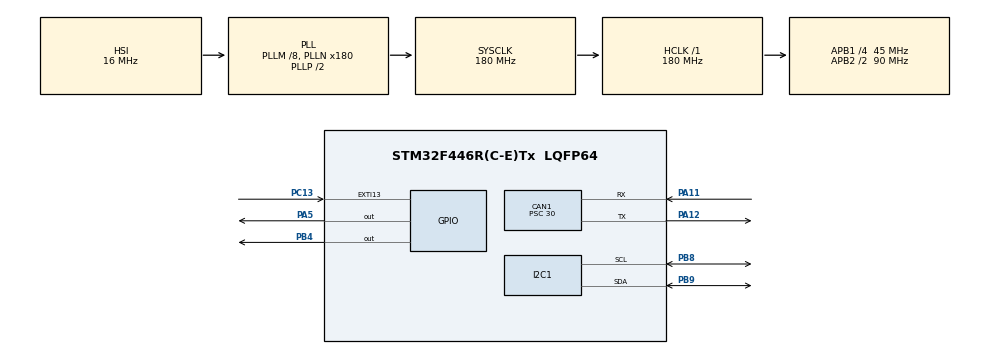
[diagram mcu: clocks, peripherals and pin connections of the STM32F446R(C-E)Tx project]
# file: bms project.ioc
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CAN1.CalculateBaudRate=500000
CAN1.CalculateTimeBit=2000
CAN1.CalculateTimeQuantum=666.6666666666666
CAN1.Prescaler=30
FREERTOS.Tasks01=defaultTask,24,128,StartDefaultTask,Default,NULL,Dynamic,NULL,NULL
FREERTOS.configTOTAL_HEAP_SIZE=8192
FREERTOS.configUSE_NEWLIB_REENTRANT=1
Mcu.Family=STM32F4
Mcu.Name=STM32F446R(C-E)Tx
Mcu.Package=LQFP64
NUCLEO-F446RE.BUTTON=1
NUCLEO-F446RE.LD1=true
NVIC.EXTI15_10_IRQn=true\:5\:0\:false\:false\:true\:true\:false\:true\:true
NVIC.PriorityGroup=NVIC_PRIORITYGROUP_4
NVIC.TIM6_DAC_IRQn=true\:15\:0\:false\:false\:true\:false\:false\:true\:true
NVIC.TimeBase=TIM6_DAC_IRQn
NVIC.TimeBaseIP=TIM6
PA11.Mode=CAN_Activate
PA11.Signal=CAN1_RX
PA12.Mode=CAN_Activate
PA12.Signal=CAN1_TX
PA13.GPIO_Label=TMS
PA13.Signal=SYS_JTMS-SWDIO
PA14.GPIO_Label=TCK
PA14.Signal=SYS_JTCK-SWCLK
PA2.GPIO_Label=USART_TX
PA2.Signal=USART2_TX
PA3.GPIO_Label=USART_RX
PA3.Signal=USART2_RX
PA5.Signal=GPIO_Output
PB3.GPIO_Label=SWO
PB3.Signal=SYS_JTDO-SWO
PB4.Signal=GPIO_Output
PB8.Mode=I2C
PB8.Signal=I2C1_SCL
PB9.Mode=I2C
PB9.Signal=I2C1_SDA
PC13.Signal=GPXTI13
PC14-OSC32_IN.Signal=RCC_OSC32_IN
PC15-OSC32_OUT.Signal=RCC_OSC32_OUT
PH0-OSC_IN.Signal=RCC_OSC_IN
PH1-OSC_OUT.Signal=RCC_OSC_OUT
ProjectManager.HeapSize=0x200
ProjectManager.StackSize=0x400
ProjectManager.TargetToolchain=STM32CubeIDE
RCC.AHBFreq_Value=180000000
RCC.APB1CLKDivider=RCC_HCLK_DIV4
RCC.APB1Freq_Value=45000000
RCC.APB1TimFreq_Value=90000000
RCC.APB2CLKDivider=RCC_HCLK_DIV2
RCC.APB2Freq_Value=90000000
RCC.APB2TimFreq_Value=180000000
RCC.CortexFreq_Value=180000000
RCC.FLatency-AdvancedSettings=FLASH_LATENCY_5
RCC.HCLKFreq_Value=180000000
RCC.HSE_VALUE=8000000
RCC.HSI_VALUE=16000000
RCC.LSE_VALUE=32768
RCC.PLLM=8
RCC.PLLN=180
RCC.PLLP=2
RCC.SYSCLKFreq_VALUE=180000000
RCC.SYSCLKSource=RCC_SYSCLKSOURCE_PLLCLK
RCC.USBFreq_Value=180000000
RCC.VCOOutputFreq_Value=360000000
STMicroelectronics.X-CUBE-AI.10.2.1.ActivationBufferSizeList=2000
STMicroelectronics.X-CUBE-AI.10.2.1.ActivationBuffers=pool0
STMicroelectronics.X-CUBE-AI.10.2.1.ActivationNames=pool0
STMicroelectronics.X-CUBE-AI.10.2.1.ActivationSizes=AI_NETWORK_DATA_ACTIVATION_1_SIZE
STMicroelectronics.X-CUBE-AI.10.2.1.HeapSize=0x800
STMicroelectronics.X-CUBE-AI.10.2.1.InternalRamActivationBufferMaxSize=AI_NETWORK_DATA_ACTIVATIONS_SIZE
STMicroelectronics.X-CUBE-AI.10.2.1.LatestDirectoryUsed-007bdd87d281aa1ff6962a9f3ec22aef790b015df3d463b13519d615163b8069=/Users/rishibobra/bms_battery_data
STMicroelectronics.X-CUBE-AI.10.2.1.MaximumNumberOfInputLayer=1
STMicroelectronics.X-CUBE-AI.10.2.1.MaximumNumberOfOutputLayer=1
STMicroelectronics.X-CUBE-AI.10.2.1.MaximumSizeOfInputLayer=1
STMicroelectronics.X-CUBE-AI.10.2.1.MaximumSizeOfOutputLayer=1
STMicroelectronics.X-CUBE-AI.10.2.1.ModelActualCompression-007bdd87d281aa1ff6962a9f3ec22aef790b015df3d463b13519d615163b8069=0.0
STMicroelectronics.X-CUBE-AI.10.2.1.ModelCompression-007bdd87d281aa1ff6962a9f3ec22aef790b015df3d463b13519d615163b8069=None
STMicroelectronics.X-CUBE-AI.10.2.1.ModelFlashOccupation-007bdd87d281aa1ff6962a9f3ec22aef790b015df3d463b13519d615163b8069=15914
STMicroelectronics.X-CUBE-AI.10.2.1.ModelHashList=007bdd87d281aa1ff6962a9f3ec22aef790b015df3d463b13519d615163b8069
STMicroelectronics.X-CUBE-AI.10.2.1.ModelKind-007bdd87d281aa1ff6962a9f3ec22aef790b015df3d463b13519d615163b8069=TFLITE
STMicroelectronics.X-CUBE-AI.10.2.1.ModelMacc-007bdd87d281aa1ff6962a9f3ec22aef790b015df3d463b13519d615163b8069=154
STMicroelectronics.X-CUBE-AI.10.2.1.ModelName-007bdd87d281aa1ff6962a9f3ec22aef790b015df3d463b13519d615163b8069=network
STMicroelectronics.X-CUBE-AI.10.2.1.ModelNameList=network
STMicroelectronics.X-CUBE-AI.10.2.1.ModelRamOccupation-007bdd87d281aa1ff6962a9f3ec22aef790b015df3d463b13519d615163b8069=2000
STMicroelectronics.X-CUBE-AI.10.2.1.ModelStructureFile-007bdd87d281aa1ff6962a9f3ec22aef790b015df3d463b13519d615163b8069=/Users/rishibobra/bms_battery_data/battery_health_int8.tflite
STMicroelectronics.X-CUBE-AI.10.2.1.ModelType-007bdd87d281aa1ff6962a9f3ec22aef790b015df3d463b13519d615163b8069=STM32Cube.AI MCU runtime
STMicroelectronics.X-CUBE-AI.10.2.1.ReadyForCodeGeneration=true
STMicroelectronics.X-CUBE-AI.10.2.1.StackSize=0x800
STMicroelectronics.X-CUBE-AI.10.2.1.WorkingBufferStartAddrList=0xFFFFFFFF
STMicroelectronics.X-CUBE-AI.10.2.1.XAaCUBEAaAICcArtificialOoIntelligenceJjCore=true
STMicroelectronics.X-CUBE-AI.10.2.1.copyWeightToRam=false
STMicroelectronics.X-CUBE-AI.10.2.1.customLayerConfigEnabled=false
STMicroelectronics.X-CUBE-AI.10.2.1.noOnnxIoTranspose=false
STMicroelectronics.X-CUBE-AI.10.2.1.useInputAllocation=true
STMicroelectronics.X-CUBE-AI.10.2.1.useOutputAllocation=true
VP_FREERTOS_VS_CMSIS_V2.Mode=CMSIS_V2
VP_NUCLEO-F446RE_VS_BSP_COMMON.Mode=COMMON
VP_STMicroelectronics.X-CUBE-AI_VS_ArtificialOoIntelligenceJjXAaCUBEAaAI_10.2.1.Mode=ArtificialOoIntelligenceJjXAaCUBEAaAI
VP_SYS_VS_tim6.Mode=TIM6
board=NUCLEO-F446RE

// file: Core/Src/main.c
/* USER CODE BEGIN Header */
/**
  ******************************************************************************
  * @file           : main.c
  * @brief          : Main program body (RTOS + CAN)
  ******************************************************************************
  */
/* USER CODE END Header */
#include "main.h"
#include "cmsis_os.h"

/* USER CODE BEGIN Includes */
#include "network.h"
#include "network_data.h"
#include <math.h>
#include <string.h>
/* USER CODE END Includes */

CAN_HandleTypeDef hcan1;

I2C_HandleTypeDef hi2c1;

/* Definitions for defaultTask */
osThreadId_t defaultTaskHandle;
const osThreadAttr_t defaultTask_attributes = {
  .name = "defaultTask",
  .stack_size = 128 * 4,
  .priority = (osPriority_t) osPriorityNormal,
};
/* USER CODE BEGIN PV */

/* --- Shared telemetry struct + RTOS primitives --- */

typedef struct {
  float voltage_cellA, voltage_cellB, voltage_cellC, busVoltage_V;
  float current_A, temperature_C, soc_estimate;
  uint8_t ov_fault, uv_fault, ocd_fault, ot_fault, any_fault;
  uint8_t ml_fault_predicted;
} Telemetry;

static Telemetry telemetry = {0};

static osMutexId_t i2c_mutex;
static osMutexId_t telemetry_mutex;
static osSemaphoreId_t ml_window_ready_sem;

static osThreadId_t sensor_task_handle;
static osThreadId_t ml_task_handle;
static osThreadId_t can_task_handle;

/* --- All I2C-level device functions: unchanged --- */

int16_t ADS1115_ReadDifferential(uint8_t address, uint8_t channelPair)
{
  uint8_t config[3];
  uint8_t data[2];

  uint16_t muxBits = (channelPair == 0) ? 0x0000 : 0x3000;

  uint16_t configValue = 0x8000 | muxBits | 0x0200 | 0x0100 | 0x0080 | 0x0003;

  config[0] = 0x01;
  config[1] = configValue >> 8;
  config[2] = configValue & 0xFF;

  HAL_I2C_Master_Transmit(&hi2c1, address << 1, config, 3, 100);

  uint8_t configReg = 0x01;
  uint8_t configReadBuf[2];
  HAL_I2C_Master_Transmit(&hi2c1, address << 1, &configReg, 1, 100);
  HAL_I2C_Master_Receive(&hi2c1, address << 1, configReadBuf, 2, 100);

  osDelay(10);

  uint8_t reg = 0x00;
  HAL_I2C_Master_Transmit(&hi2c1, address << 1, &reg, 1, 100);
  HAL_I2C_Master_Receive(&hi2c1, address << 1, data, 2, 100);

  return (int16_t)((data[0] << 8) | data[1]);
}

int16_t ADS1115_ReadSingleEnded(uint8_t address, uint8_t channel)
{
  uint8_t config[3];
  uint8_t data[2];

  uint16_t muxBits;
  switch (channel)
  {
    case 0: muxBits = 0x4000; break;
    case 1: muxBits = 0x5000; break;
    case 2: muxBits = 0x6000; break;
    case 3: muxBits = 0x7000; break;
    default: muxBits = 0x4000; break;
  }

  uint16_t configValue = 0x8000 | muxBits | 0x0200 | 0x0100 | 0x0080 | 0x0003;

  config[0] = 0x01;
  config[1] = configValue >> 8;
  config[2] = configValue & 0xFF;

  HAL_I2C_Master_Transmit(&hi2c1, address << 1, config, 3, 100);
  osDelay(10);

  uint8_t reg = 0x00;
  HAL_I2C_Master_Transmit(&hi2c1, address << 1, &reg, 1, 100);
  HAL_I2C_Master_Receive(&hi2c1, address << 1, data, 2, 100);

  return (int16_t)((data[0] << 8) | data[1]);
}

void INA219_Init(void)
{
  uint8_t config[3];
  uint16_t configValue = 0x399F;
  config[0] = 0x00;
  config[1] = configValue >> 8;
  config[2] = configValue & 0xFF;
  HAL_I2C_Master_Transmit(&hi2c1, 0x40 << 1, config, 3, 100);
}

int16_t INA219_ReadShuntVoltage(void)
{
  uint8_t reg = 0x01;
  uint8_t data[2];
  HAL_I2C_Master_Transmit(&hi2c1, 0x40 << 1, &reg, 1, 100);
  HAL_I2C_Master_Receive(&hi2c1, 0x40 << 1, data, 2, 100);
  return (int16_t)((data[0] << 8) | data[1]);
}

int16_t INA219_ReadBusVoltage(void)
{
  uint8_t reg = 0x02;
  uint8_t data[2];
  HAL_I2C_Master_Transmit(&hi2c1, 0x40 << 1, &reg, 1, 100);
  HAL_I2C_Master_Receive(&hi2c1, 0x40 << 1, data, 2, 100);
  uint16_t raw = ((data[0] << 8) | data[1]);
  return (int16_t)(raw >> 3);
}

#define NTC_R_FIXED    10000.0f
#define NTC_R0         10000.0f
#define NTC_T0_KELVIN  298.15f
#define NTC_BETA       3950.0f
#define NTC_SUPPLY_V   3.3f
#define OT_THRESHOLD   60.0f

float NTC_ReadTemperatureC(void)
{
  int16_t raw = ADS1115_ReadSingleEnded(0x49, 1); // confirmed working channel

  float v_midpoint = raw * 4.096f / 32768.0f;

  if (v_midpoint <= 0.01f || v_midpoint >= (NTC_SUPPLY_V - 0.01f))
  {
    return -999.0f;
  }

  float r_ntc = NTC_R_FIXED * v_midpoint / (NTC_SUPPLY_V - v_midpoint);
  float inv_T = (1.0f / NTC_T0_KELVIN) + (1.0f / NTC_BETA) * logf(r_ntc / NTC_R0);
  float T_kelvin = 1.0f / inv_T;
  return T_kelvin - 273.15f;
}

/* --- Protection logic: unchanged --- */

typedef struct {
  uint8_t ov_fault, uv_fault, ocd_fault, ot_fault, any_fault;
} FaultStatus;

static FaultStatus faults = {0, 0, 0, 0, 0};

#define OV_THRESHOLD  4.25f
#define UV_THRESHOLD  3.00f
#define OCD_THRESHOLD 1.00f
#define FAULT_TRIP_COUNT    3
#define FAULT_CLEAR_COUNT   10

static uint8_t fault_debounce_counter = 0;
static uint8_t clear_debounce_counter = 0;

void CheckProtection(float vA, float vB, float vC, float current, float temperature)
{
  uint8_t ov_now  = (vA > OV_THRESHOLD) || (vB > OV_THRESHOLD) || (vC > OV_THRESHOLD);
  uint8_t uv_now  = (vA < UV_THRESHOLD) || (vB < UV_THRESHOLD) || (vC < UV_THRESHOLD);
  uint8_t ocd_now = (current > OCD_THRESHOLD);
  uint8_t ot_now  = (temperature > -900.0f) && (temperature > OT_THRESHOLD);
  uint8_t any_now = ov_now || uv_now || ocd_now || ot_now;

  if (any_now)
  {
    if (fault_debounce_counter < 255) fault_debounce_counter++;
    clear_debounce_counter = 0;

    if (fault_debounce_counter >= FAULT_TRIP_COUNT)
    {
      faults.ov_fault  = ov_now;
      faults.uv_fault  = uv_now;
      faults.ocd_fault = ocd_now;
      faults.ot_fault  = ot_now;
      faults.any_fault = 1;
    }
  }
  else
  {
    if (clear_debounce_counter < 255) clear_debounce_counter++;
    fault_debounce_counter = 0;

    if (faults.any_fault && clear_debounce_counter >= FAULT_CLEAR_COUNT)
    {
      faults.ov_fault = 0;
      faults.uv_fault = 0;
      faults.ocd_fault = 0;
      faults.ot_fault = 0;
      faults.any_fault = 0;
    }
  }
}

/* --- ML window + inference: unchanged --- */

#define ML_WINDOW_DURATION_MS (60UL * 60UL * 1000UL)

typedef struct {
  uint8_t initialized;
  uint32_t window_start_ms;
  float v_start, v_end, v_min, v_max, v_sum;
  float t_start, t_end, t_min, t_max, t_sum;
  float i_sum;
  uint32_t sample_count;
} MLWindow;

static MLWindow ml_window = {0};
static uint8_t ml_fault_predicted = 0;

AI_ALIGNED(4) static ai_u8 ml_activations[AI_NETWORK_DATA_ACTIVATIONS_SIZE];
static ai_handle ml_network = AI_HANDLE_NULL;
static ai_buffer *ml_ai_input;
static ai_buffer *ml_ai_output;
AI_ALIGNED(4) static ai_i8 ml_in_data[AI_NETWORK_IN_1_SIZE_BYTES];
AI_ALIGNED(4) static ai_i8 ml_out_data[AI_NETWORK_OUT_1_SIZE_BYTES];

#define ML_INPUT_SCALE       0.03585321083664894f
#define ML_INPUT_ZERO_POINT  (-22)
#define ML_OUTPUT_SCALE      0.00390625f
#define ML_OUTPUT_ZERO_POINT (-128)

static const float ml_feature_mean[13] = {
  4.192808955132895f, 3.272409089583816f, 0.9203998655490792f,
  3.4993529584264813f, 2.381492897664002f, -0.0002247136744084125f,
  0.49307353410537685f, 32.650578043119715f, 40.05161188619845f,
  24.118333404703275f, 12.608154840005213f, -1.833948924395799f,
  3129.523886904762f
};
static const float ml_feature_scale[13] = {
  0.00931527534691189f, 0.4221091341784416f, 0.42299735424333007f,
  0.05079193023033349f, 0.24488864532021887f, 4.297661349659307e-05f,
  0.19936359353370495f, 0.8018611177388473f, 1.1842801512585357f,
  0.4721036585599512f, 2.1909839096404036f, 0.11241392866188613f,
  245.91931258935674f
};

void ML_WindowUpdate(float voltage, float temperature, float current, uint32_t time_ms)
{
  if (!ml_window.initialized)
  {
    ml_window.window_start_ms = time_ms;
    ml_window.v_start = voltage;
    ml_window.v_min = voltage;
    ml_window.v_max = voltage;
    ml_window.v_sum = 0.0f;
    ml_window.t_start = temperature;
    ml_window.t_min = temperature;
    ml_window.t_max = temperature;
    ml_window.t_sum = 0.0f;
    ml_window.i_sum = 0.0f;
    ml_window.sample_count = 0;
    ml_window.initialized = 1;
  }

  ml_window.v_end = voltage;
  ml_window.v_sum += voltage;
  if (voltage < ml_window.v_min) ml_window.v_min = voltage;
  if (voltage > ml_window.v_max) ml_window.v_max = voltage;

  ml_window.t_end = temperature;
  ml_window.t_sum += temperature;
  if (temperature < ml_window.t_min) ml_window.t_min = temperature;
  if (temperature > ml_window.t_max) ml_window.t_max = temperature;

  ml_window.i_sum += current;
  ml_window.sample_count++;
}

uint8_t ML_WindowReady(uint32_t time_ms)
{
  if (!ml_window.initialized || ml_window.sample_count < 10) return 0;
  return (time_ms - ml_window.window_start_ms) >= ML_WINDOW_DURATION_MS;
}

void ML_ComputeFeatures(float *out_features, uint32_t time_ms)
{
  float n = (float)ml_window.sample_count;
  float v_mean = ml_window.v_sum / n;
  float t_mean = ml_window.t_sum / n;
  float i_mean = ml_window.i_sum / n;

  float duration_s = (time_ms - ml_window.window_start_ms) / 1000.0f;
  if (duration_s < 0.001f) duration_s = 0.001f;

  float v_slope = (ml_window.v_end - ml_window.v_start) / duration_s;

  float i_mean_mag = (i_mean < 0) ? -i_mean : i_mean;
  float resistance_proxy = (i_mean_mag > 1e-6f)
    ? (ml_window.v_start - ml_window.v_end) / i_mean_mag
    : 0.0f;

  float t_rise = ml_window.t_end - ml_window.t_start;

  out_features[0] = ml_window.v_start;
  out_features[1] = ml_window.v_end;
  out_features[2] = ml_window.v_start - ml_window.v_end;
  out_features[3] = v_mean;
  out_features[4] = ml_window.v_min;
  out_features[5] = v_slope;
  out_features[6] = resistance_proxy;
  out_features[7] = t_mean;
  out_features[8] = ml_window.t_max;
  out_features[9] = ml_window.t_min;
  out_features[10] = t_rise;
  out_features[11] = i_mean;
  out_features[12] = duration_s;
}

void ML_WindowReset(void)
{
  ml_window.initialized = 0;
}

int ML_NetworkInit(void)
{
  ai_error err;
  const ai_handle act_addr[] = { ml_activations };
  err = ai_network_create_and_init(&ml_network, act_addr, NULL);
  if (err.type != AI_ERROR_NONE) return -1;
  ml_ai_input = ai_network_inputs_get(ml_network, NULL);
  ml_ai_output = ai_network_outputs_get(ml_network, NULL);
  return 0;
}

uint8_t ML_RunInference(uint32_t time_ms)
{
  float features[13];
  ML_ComputeFeatures(features, time_ms);

  for (int i = 0; i < 13; i++)
  {
    float normalized = (features[i] - ml_feature_mean[i]) / ml_feature_scale[i];
    int32_t quantized = (int32_t)(normalized / ML_INPUT_SCALE + ML_INPUT_ZERO_POINT + 0.5f);
    if (quantized > 127) quantized = 127;
    if (quantized < -128) quantized = -128;
    ml_in_data[i] = (ai_i8)quantized;
  }

  ml_ai_input[0].data = AI_HANDLE_PTR(ml_in_data);
  ml_ai_output[0].data = AI_HANDLE_PTR(ml_out_data);

  ai_i32 batch = ai_network_run(ml_network, ml_ai_input, ml_ai_output);
  if (batch != 1) return 0;

  float output_prob = (ml_out_data[0] - ML_OUTPUT_ZERO_POINT) * ML_OUTPUT_SCALE;
  return (output_prob > 0.5f) ? 1 : 0;
}

/* --- EKF: unchanged --- */

#define ECM_R0   0.1073f
#define ECM_R1   0.0861f
#define ECM_TAU  163.6745f
#define EKF_CAPACITY_AH 1.8565f  // TODO: replace with your pack's rated Ah

#define OCV_TABLE_SIZE 21

static const float ocv_soc_grid[OCV_TABLE_SIZE] = {
  0.00f, 0.05f, 0.10f, 0.15f, 0.20f, 0.25f, 0.30f, 0.35f, 0.40f, 0.45f,
  0.50f, 0.55f, 0.60f, 0.65f, 0.70f, 0.75f, 0.80f, 0.85f, 0.90f, 0.95f, 1.00f
};

static const float ocv_voltage_table[OCV_TABLE_SIZE] = {
  3.4020f, 3.5955f, 3.7331f, 3.7850f, 3.8160f, 3.8396f, 3.8583f, 3.8755f,
  3.8932f, 3.9131f, 3.9361f, 3.9620f, 3.9895f, 4.0186f, 4.0501f, 4.0839f,
  4.1201f, 4.1598f, 4.2043f, 4.2596f, 4.2596f
};

typedef struct { float soc; float v1; float P[2][2]; } EKF_State;

static EKF_State ekf = {
  .soc = 1.0f, .v1 = 0.0f,
  .P = {{1e-4f, 0.0f}, {0.0f, 1e-4f}}
};

static const float EKF_Q_SOC = 1e-8f;
static const float EKF_Q_V1  = 1e-6f;
static const float EKF_R_NOISE = 1e-4f;

static float EKF_OCV(float soc)
{
  if (soc <= ocv_soc_grid[0]) return ocv_voltage_table[0];
  if (soc >= ocv_soc_grid[OCV_TABLE_SIZE - 1]) return ocv_voltage_table[OCV_TABLE_SIZE - 1];
  for (int i = 0; i < OCV_TABLE_SIZE - 1; i++)
  {
    if (soc >= ocv_soc_grid[i] && soc <= ocv_soc_grid[i + 1])
    {
      float frac = (soc - ocv_soc_grid[i]) / (ocv_soc_grid[i + 1] - ocv_soc_grid[i]);
      return ocv_voltage_table[i] + frac * (ocv_voltage_table[i + 1] - ocv_voltage_table[i]);
    }
  }
  return ocv_voltage_table[OCV_TABLE_SIZE - 1];
}

static float EKF_dOCV_dSoC(float soc)
{
  const float eps = 0.001f;
  float soc_hi = soc + eps;
  float soc_lo = soc - eps;
  if (soc_hi > 1.0f) soc_hi = 1.0f;
  if (soc_lo < 0.0f) soc_lo = 0.0f;
  return (EKF_OCV(soc_hi) - EKF_OCV(soc_lo)) / (soc_hi - soc_lo);
}

void EKF_Init(float initial_soc)
{
  ekf.soc = initial_soc;
  ekf.v1 = 0.0f;
  ekf.P[0][0] = 1e-4f; ekf.P[0][1] = 0.0f;
  ekf.P[1][0] = 0.0f;  ekf.P[1][1] = 1e-4f;
}

void EKF_Predict(float current, float dt)
{
  float exp_term = expf(-dt / ECM_TAU);
  float soc_new = ekf.soc - (dt / (EKF_CAPACITY_AH * 3600.0f)) * current;
  float v1_new  = ekf.v1 * exp_term + ECM_R1 * (1.0f - exp_term) * current;

  ekf.soc = soc_new;
  ekf.v1 = v1_new;

  float P00 = ekf.P[0][0], P01 = ekf.P[0][1], P10 = ekf.P[1][0], P11 = ekf.P[1][1];
  ekf.P[0][0] = P00 + EKF_Q_SOC;
  ekf.P[0][1] = P01 * exp_term;
  ekf.P[1][0] = P10 * exp_term;
  ekf.P[1][1] = P11 * exp_term * exp_term + EKF_Q_V1;
}

void EKF_Update(float measured_voltage, float current)
{
  float predicted_voltage = EKF_OCV(ekf.soc) - ekf.v1 - current * ECM_R0;
  float residual = measured_voltage - predicted_voltage;

  float H0 = EKF_dOCV_dSoC(ekf.soc);
  float H1 = -1.0f;

  float S = H0 * (H0 * ekf.P[0][0] + H1 * ekf.P[1][0])
          + H1 * (H0 * ekf.P[0][1] + H1 * ekf.P[1][1])
          + EKF_R_NOISE;

  float K0 = (ekf.P[0][0] * H0 + ekf.P[0][1] * H1) / S;
  float K1 = (ekf.P[1][0] * H0 + ekf.P[1][1] * H1) / S;

  ekf.soc += K0 * residual;
  ekf.v1  += K1 * residual;

  if (ekf.soc < 0.0f) ekf.soc = 0.0f;
  if (ekf.soc > 1.0f) ekf.soc = 1.0f;

  float P00 = ekf.P[0][0], P01 = ekf.P[0][1], P10 = ekf.P[1][0], P11 = ekf.P[1][1];
  ekf.P[0][0] = (1.0f - K0 * H0) * P00 - K0 * H1 * P10;
  ekf.P[0][1] = (1.0f - K0 * H0) * P01 - K0 * H1 * P11;
  ekf.P[1][0] = -K1 * H0 * P00 + (1.0f - K1 * H1) * P10;
  ekf.P[1][1] = -K1 * H0 * P01 + (1.0f - K1 * H1) * P11;
}

float EKF_GetSoC(void) { return ekf.soc; }

/* --- CAN: telemetry init + send functions --- */

#define CAN_ID_VOLTAGES  0x100
#define CAN_ID_STATUS    0x101

static CAN_TxHeaderTypeDef can_tx_header;
static uint32_t can_tx_mailbox;

int CAN_TelemetryInit(void)
{
  if (HAL_CAN_Start(&hcan1) != HAL_OK) return -1;
  can_tx_header.IDE = CAN_ID_STD;
  can_tx_header.RTR = CAN_RTR_DATA;
  can_tx_header.DLC = 8;
  can_tx_header.TransmitGlobalTime = DISABLE;
  return 0;
}

int CAN_SendVoltages(float vA, float vB, float vC, float vPack)
{
  uint8_t data[8];
  int16_t vA_mV = (int16_t)(vA * 1000.0f);
  int16_t vB_mV = (int16_t)(vB * 1000.0f);
  int16_t vC_mV = (int16_t)(vC * 1000.0f);
  int16_t vPack_mV = (int16_t)(vPack * 1000.0f);

  data[0] = (vA_mV >> 8) & 0xFF; data[1] = vA_mV & 0xFF;
  data[2] = (vB_mV >> 8) & 0xFF; data[3] = vB_mV & 0xFF;
  data[4] = (vC_mV >> 8) & 0xFF; data[5] = vC_mV & 0xFF;
  data[6] = (vPack_mV >> 8) & 0xFF; data[7] = vPack_mV & 0xFF;

  can_tx_header.StdId = CAN_ID_VOLTAGES;
  if (HAL_CAN_GetTxMailboxesFreeLevel(&hcan1) == 0) return -1;
  return HAL_CAN_AddTxMessage(&hcan1, &can_tx_header, data, &can_tx_mailbox) == HAL_OK ? 0 : -1;
}

int CAN_SendStatus(float current, float temperature, float soc,
                    uint8_t ov, uint8_t uv, uint8_t ocd, uint8_t ot,
                    uint8_t any_fault, uint8_t ml_fault)
{
  uint8_t data[8];
  int16_t current_mA = (int16_t)(current * 1000.0f);
  int16_t temp_x10 = (int16_t)(temperature * 10.0f);
  uint8_t soc_pct = (uint8_t)(soc * 100.0f);

  uint8_t fault_flags = (ov & 0x01) | ((uv & 0x01) << 1) | ((ocd & 0x01) << 2)
                       | ((ot & 0x01) << 3) | ((any_fault & 0x01) << 4);

  data[0] = (current_mA >> 8) & 0xFF; data[1] = current_mA & 0xFF;
  data[2] = (temp_x10 >> 8) & 0xFF;   data[3] = temp_x10 & 0xFF;
  data[4] = soc_pct;
  data[5] = fault_flags;
  data[6] = ml_fault;
  data[7] = 0x00;

  can_tx_header.StdId = CAN_ID_STATUS;
  if (HAL_CAN_GetTxMailboxesFreeLevel(&hcan1) == 0) return -1;
  return HAL_CAN_AddTxMessage(&hcan1, &can_tx_header, data, &can_tx_mailbox) == HAL_OK ? 0 : -1;
}

/* ============================================================
   RTOS TASKS
   ============================================================ */

static void SensorTask(void *argument)
{
  static uint32_t last_ekf_tick = 0;

  for (;;)
  {
    osMutexAcquire(i2c_mutex, osWaitForever);

    int16_t raw_cellB = ADS1115_ReadDifferential(0x48, 0);
    int16_t raw_cellC = ADS1115_ReadDifferential(0x48, 3);
    int16_t raw_cellA = ADS1115_ReadDifferential(0x49, 3);

    float voltage_cellA = (raw_cellA * 4.096f / 32768.0f) * 4.134f;
    float voltage_cellB = (raw_cellB * 4.096f / 32768.0f) * 4.134f;
    float voltage_cellC = (raw_cellC * 4.096f / 32768.0f) * 4.134f;

    int16_t raw_shuntVoltage = INA219_ReadShuntVoltage();
    float shuntVoltage_mV = raw_shuntVoltage * 0.01f;
    float current_A = shuntVoltage_mV / 1000.0f / 0.0015f;

    int16_t busVoltage_raw = INA219_ReadBusVoltage();
    float busVoltage_V = busVoltage_raw * 0.004f;

    float temperature_C = NTC_ReadTemperatureC();

    osMutexRelease(i2c_mutex);

    CheckProtection(voltage_cellA, voltage_cellB, voltage_cellC, current_A, temperature_C);

    HAL_GPIO_WritePin(GPIOB, GPIO_PIN_4, faults.any_fault ? GPIO_PIN_RESET : GPIO_PIN_SET);

    uint32_t now_ms = HAL_GetTick();
    ML_WindowUpdate(voltage_cellB, temperature_C, current_A, now_ms);

    if (ML_WindowReady(now_ms))
    {
      osSemaphoreRelease(ml_window_ready_sem);
    }

    float dt_s = (now_ms - last_ekf_tick) / 1000.0f;
    if (dt_s > 0.001f)
    {
      EKF_Predict(current_A, dt_s);
      EKF_Update(voltage_cellB, current_A);
    }
    last_ekf_tick = now_ms;

    float soc_estimate = EKF_GetSoC();

    osMutexAcquire(telemetry_mutex, osWaitForever);
    telemetry.voltage_cellA = voltage_cellA;
    telemetry.voltage_cellB = voltage_cellB;
    telemetry.voltage_cellC = voltage_cellC;
    telemetry.busVoltage_V = busVoltage_V;
    telemetry.current_A = current_A;
    telemetry.temperature_C = temperature_C;
    telemetry.soc_estimate = soc_estimate;
    telemetry.ov_fault = faults.ov_fault;
    telemetry.uv_fault = faults.uv_fault;
    telemetry.ocd_fault = faults.ocd_fault;
    telemetry.ot_fault = faults.ot_fault;
    telemetry.any_fault = faults.any_fault;
    telemetry.ml_fault_predicted = ml_fault_predicted;
    osMutexRelease(telemetry_mutex);

    osDelay(500);
  }
}

static void MLInferenceTask(void *argument)
{
  for (;;)
  {
    osSemaphoreAcquire(ml_window_ready_sem, osWaitForever);

    uint32_t now_ms = HAL_GetTick();
    ml_fault_predicted = ML_RunInference(now_ms);
    ML_WindowReset();
  }
}

static void CANTask(void *argument)
{
  for (;;)
  {
    Telemetry snapshot;

    osMutexAcquire(telemetry_mutex, osWaitForever);
    snapshot = telemetry;
    osMutexRelease(telemetry_mutex);

    CAN_SendVoltages(snapshot.voltage_cellA, snapshot.voltage_cellB,
                      snapshot.voltage_cellC, snapshot.busVoltage_V);
    CAN_SendStatus(snapshot.current_A, snapshot.temperature_C, snapshot.soc_estimate,
                   snapshot.ov_fault, snapshot.uv_fault, snapshot.ocd_fault,
                   snapshot.ot_fault, snapshot.any_fault, snapshot.ml_fault_predicted);

    osDelay(500);
  }
}

/* USER CODE END PV */

void SystemClock_Config(void);
static void MX_GPIO_Init(void);
static void MX_I2C1_Init(void);
static void MX_CAN1_Init(void);
void StartDefaultTask(void *argument);

int main(void)
{

  /* MCU Configuration--------------------------------------------------------*/

  /* Reset of all peripherals, Initializes the Flash interface and the Systick. */
  HAL_Init();

  /* Configure the system clock */
  SystemClock_Config();

  /* Initialize all configured peripherals */
  MX_GPIO_Init();
  MX_I2C1_Init();
  MX_CAN1_Init();
  /* USER CODE BEGIN 2 */
  INA219_Init();

  if (ML_NetworkInit() != 0)
  {
    Error_Handler();
  }

  EKF_Init(1.0f); // TODO: replace with a real startup SoC estimate if known

  if (CAN_TelemetryInit() != 0)
  {
    Error_Handler();
  }
  /* USER CODE END 2 */

  /* Init scheduler */
  osKernelInitialize();

  /* USER CODE BEGIN RTOS_MUTEX */
  i2c_mutex = osMutexNew(NULL);
  telemetry_mutex = osMutexNew(NULL);
  if (i2c_mutex == NULL || telemetry_mutex == NULL)
  {
    Error_Handler();
  }
  /* USER CODE END RTOS_MUTEX */

  /* USER CODE BEGIN RTOS_SEMAPHORES */
  ml_window_ready_sem = osSemaphoreNew(1, 0, NULL);
  if (ml_window_ready_sem == NULL)
  {
    Error_Handler();
  }
  /* USER CODE END RTOS_SEMAPHORES */

  /* Create the thread(s) */
  /* creation of defaultTask */
  defaultTaskHandle = osThreadNew(StartDefaultTask, NULL, &defaultTask_attributes);

  /* USER CODE BEGIN RTOS_THREADS */
  const osThreadAttr_t sensor_task_attr = {
    .name = "SensorTask",
    .priority = osPriorityHigh,
    .stack_size = 1024
  };
  const osThreadAttr_t ml_task_attr = {
    .name = "MLInferenceTask",
    .priority = osPriorityLow,
    .stack_size = 1024
  };
  const osThreadAttr_t can_task_attr = {
    .name = "CANTask",
    .priority = osPriorityNormal,
    .stack_size = 512
  };

  sensor_task_handle = osThreadNew(SensorTask, NULL, &sensor_task_attr);
  ml_task_handle = osThreadNew(MLInferenceTask, NULL, &ml_task_attr);
  can_task_handle = osThreadNew(CANTask, NULL, &can_task_attr);

  if (sensor_task_handle == NULL || ml_task_handle == NULL || can_task_handle == NULL)
  {
    Error_Handler();
  }
  /* USER CODE END RTOS_THREADS */

  /* Initialize leds */
  BSP_LED_Init(LED2);

  /* Initialize USER push-button, will be used to trigger an interrupt each time it's pressed.*/
  BSP_PB_Init(BUTTON_USER, BUTTON_MODE_EXTI);

  /* Start scheduler */
  osKernelStart();

  /* We should never get here as control is now taken by the scheduler */

  /* Infinite loop */
  while (1)
  {

  }
}

void SystemClock_Config(void)
{
  RCC_OscInitTypeDef RCC_OscInitStruct = {0};
  RCC_ClkInitTypeDef RCC_ClkInitStruct = {0};

  /** Configure the main internal regulator output voltage
  */
  __HAL_RCC_PWR_CLK_ENABLE();
  __HAL_PWR_VOLTAGESCALING_CONFIG(PWR_REGULATOR_VOLTAGE_SCALE1);

  /** Initializes the RCC Oscillators according to the specified parameters
  * in the RCC_OscInitTypeDef structure.
  */
  RCC_OscInitStruct.OscillatorType = RCC_OSCILLATORTYPE_HSI;
  RCC_OscInitStruct.HSIState = RCC_HSI_ON;
  RCC_OscInitStruct.HSICalibrationValue = RCC_HSICALIBRATION_DEFAULT;
  RCC_OscInitStruct.PLL.PLLState = RCC_PLL_ON;
  RCC_OscInitStruct.PLL.PLLSource = RCC_PLLSOURCE_HSI;
  RCC_OscInitStruct.PLL.PLLM = 8;
  RCC_OscInitStruct.PLL.PLLN = 180;
  RCC_OscInitStruct.PLL.PLLP = 2;
  RCC_OscInitStruct.PLL.PLLQ = 2;
  RCC_OscInitStruct.PLL.PLLR = 2;
  if (HAL_RCC_OscConfig(&RCC_OscInitStruct) != HAL_OK)
  {
    Error_Handler();
  }

  /** Activate the Over-Drive mode
  */
  if (HAL_PWREx_EnableOverDrive() != HAL_OK)
  {
    Error_Handler();
  }

  /** Initializes the CPU, AHB and APB buses clocks
  */
  RCC_ClkInitStruct.ClockType = RCC_CLOCKTYPE_HCLK|RCC_CLOCKTYPE_SYSCLK
                              |RCC_CLOCKTYPE_PCLK1|RCC_CLOCKTYPE_PCLK2;
  RCC_ClkInitStruct.SYSCLKSource = RCC_SYSCLKSOURCE_PLLCLK;
  RCC_ClkInitStruct.AHBCLKDivider = RCC_SYSCLK_DIV1;
  RCC_ClkInitStruct.APB1CLKDivider = RCC_HCLK_DIV4;
  RCC_ClkInitStruct.APB2CLKDivider = RCC_HCLK_DIV2;

  if (HAL_RCC_ClockConfig(&RCC_ClkInitStruct, FLASH_LATENCY_5) != HAL_OK)
  {
    Error_Handler();
  }
}

static void MX_CAN1_Init(void)
{

  hcan1.Instance = CAN1;
  hcan1.Init.Prescaler = 30;
  hcan1.Init.Mode = CAN_MODE_NORMAL;
  hcan1.Init.SyncJumpWidth = CAN_SJW_1TQ;
  hcan1.Init.TimeSeg1 = CAN_BS1_1TQ;
  hcan1.Init.TimeSeg2 = CAN_BS2_1TQ;
  hcan1.Init.TimeTriggeredMode = DISABLE;
  hcan1.Init.AutoBusOff = DISABLE;
  hcan1.Init.AutoWakeUp = DISABLE;
  hcan1.Init.AutoRetransmission = DISABLE;
  hcan1.Init.ReceiveFifoLocked = DISABLE;
  hcan1.Init.TransmitFifoPriority = DISABLE;
  if (HAL_CAN_Init(&hcan1) != HAL_OK)
  {
    Error_Handler();
  }

}

static void MX_I2C1_Init(void)
{

  hi2c1.Instance = I2C1;
  hi2c1.Init.ClockSpeed = 100000;
  hi2c1.Init.DutyCycle = I2C_DUTYCYCLE_2;
  hi2c1.Init.OwnAddress1 = 0;
  hi2c1.Init.AddressingMode = I2C_ADDRESSINGMODE_7BIT;
  hi2c1.Init.DualAddressMode = I2C_DUALADDRESS_DISABLE;
  hi2c1.Init.OwnAddress2 = 0;
  hi2c1.Init.GeneralCallMode = I2C_GENERALCALL_DISABLE;
  hi2c1.Init.NoStretchMode = I2C_NOSTRETCH_DISABLE;
  if (HAL_I2C_Init(&hi2c1) != HAL_OK)
  {
    Error_Handler();
  }

}

static void MX_GPIO_Init(void)
{
  GPIO_InitTypeDef GPIO_InitStruct = {0};

  /* GPIO Ports Clock Enable */
  __HAL_RCC_GPIOC_CLK_ENABLE();
  __HAL_RCC_GPIOH_CLK_ENABLE();
  __HAL_RCC_GPIOA_CLK_ENABLE();
  __HAL_RCC_GPIOB_CLK_ENABLE();

  /*Configure GPIO pin Output Level */
  HAL_GPIO_WritePin(GPIOB, GPIO_PIN_4, GPIO_PIN_RESET);

  /*Configure GPIO pins : USART_TX_Pin USART_RX_Pin */
  GPIO_InitStruct.Pin = USART_TX_Pin|USART_RX_Pin;
  GPIO_InitStruct.Mode = GPIO_MODE_AF_PP;
  GPIO_InitStruct.Pull = GPIO_NOPULL;
  GPIO_InitStruct.Speed = GPIO_SPEED_FREQ_VERY_HIGH;
  GPIO_InitStruct.Alternate = GPIO_AF7_USART2;
  HAL_GPIO_Init(GPIOA, &GPIO_InitStruct);

  /*Configure GPIO pin : PB4 */
  GPIO_InitStruct.Pin = GPIO_PIN_4;
  GPIO_InitStruct.Mode = GPIO_MODE_OUTPUT_PP;
  GPIO_InitStruct.Pull = GPIO_NOPULL;
  GPIO_InitStruct.Speed = GPIO_SPEED_FREQ_LOW;
  HAL_GPIO_Init(GPIOB, &GPIO_InitStruct);

}

void StartDefaultTask(void *argument)
{
  for(;;)
  {
    osDelay(1);
  }
}

void HAL_TIM_PeriodElapsedCallback(TIM_HandleTypeDef *htim)
{
  if (htim->Instance == TIM6)
  {
    HAL_IncTick();
  }
}

void Error_Handler(void)
{
  __disable_irq();
  while (1)
  {
  }
}
